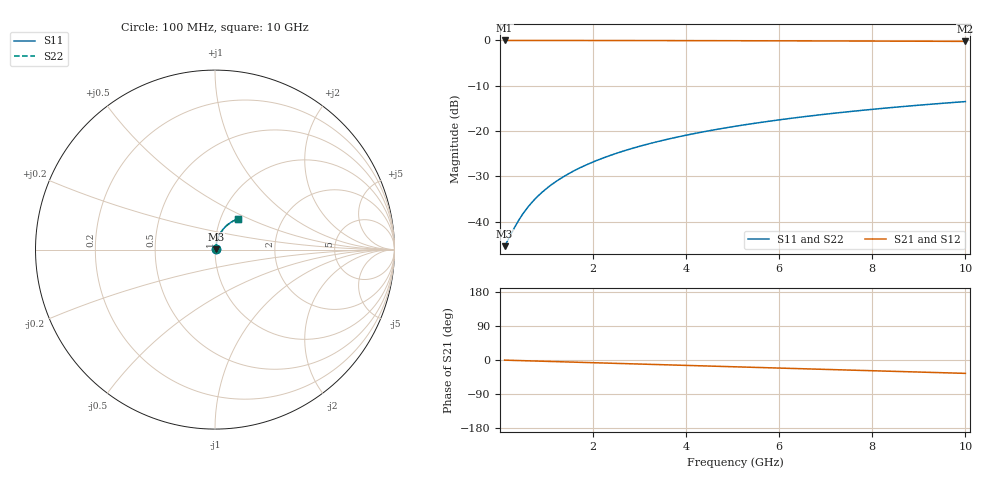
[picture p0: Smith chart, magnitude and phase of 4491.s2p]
# Hz S RI R 50.00
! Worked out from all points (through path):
!   100 points, 100 MHz to 10 GHz, reference 50 ohm
!   highest |S21| = -0.04 dB at 100 MHz (marker M1); lowest = -0.2 dB at 10 GHz (marker M2)
!   group delay of S21, straight-line fit = 9.81 ps
!   lowest |S11| = -45.3 dB at 100 MHz (marker M3), VSWR 1.01, Z = 50.5 + j0.227 ohm
!   |S11| at or under -10 dB: start of sweep to end of sweep
!   |S22| runs from -45.3 to -13.5 dB; largest |S21 - S12| = 0
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1e8  0.00491 0.00225  0.9951 -0.00619  0.9951 -0.00619  0.00491 0.00225
3e8  0.00508 0.00674  0.9948 -0.0186  0.9948 -0.0186  0.00508 0.00674
4e8  0.00519 0.00898  0.9947 -0.0247  0.9947 -0.0247  0.00519 0.00898
5e8  0.00533 0.0112  0.9945 -0.0309  0.9945 -0.0309  0.00533 0.0112
6e8  0.0055 0.0135  0.9942 -0.0371  0.9942 -0.0371  0.0055 0.0135
7e8  0.00569 0.0157  0.9939 -0.0433  0.9939 -0.0433  0.00569 0.0157
8e8  0.00591 0.0179  0.9936 -0.0495  0.9936 -0.0495  0.00591 0.0179
1e9  0.00644 0.0224  0.9927 -0.0618  0.9927 -0.0618  0.00644 0.0224
1.2e9  0.00707 0.0268  0.9918 -0.0741  0.9918 -0.0741  0.00707 0.0268
1.5e9  0.00821 0.0335  0.99 -0.0926  0.99 -0.0926  0.00821 0.0335
1.8e9  0.00961 0.04  0.9878 -0.111  0.9878 -0.111  0.00961 0.04
2.1e9  0.0112 0.0466  0.9852 -0.1293  0.9852 -0.1293  0.0112 0.0466
2.5e9  0.0138 0.0552  0.9812 -0.1537  0.9812 -0.1537  0.0138 0.0552
2.9e9  0.0168 0.0636  0.9766 -0.1779  0.9766 -0.1779  0.0168 0.0636
3.4e9  0.0211 0.0739  0.9698 -0.2079  0.9698 -0.2079  0.0211 0.0739
4.2e9  0.0292 0.0898  0.9568 -0.2553  0.9568 -0.2553  0.0292 0.0898
5.1e9  0.0402 0.1065  0.9392 -0.3074  0.9392 -0.3074  0.0402 0.1065
5.9e9  0.0515 0.1203  0.9209 -0.3526  0.9209 -0.3526  0.0515 0.1203
6.7e9  0.064 0.1328  0.9003 -0.3965  0.9003 -0.3965  0.064 0.1328
7.5e9  0.0776 0.144  0.8775 -0.4389  0.8775 -0.4389  0.0776 0.144
8.4e9  0.0941 0.1549  0.8494 -0.4849  0.8494 -0.4849  0.0941 0.1549
1e10  0.1259 0.1696  0.7936 -0.5614  0.7936 -0.5614  0.1259 0.1696
